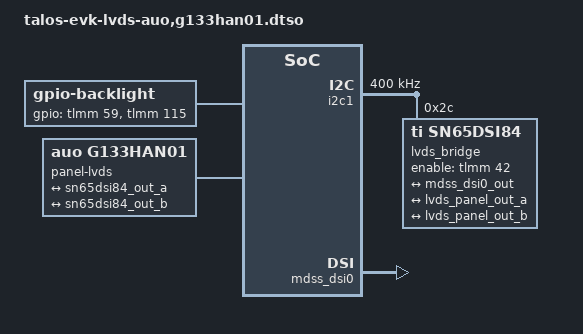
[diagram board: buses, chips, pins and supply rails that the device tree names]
// SPDX-License-Identifier: BSD-3-Clause
/*
 * Copyright (c) Qualcomm Technologies, Inc. and/or its subsidiaries.
 */
/dts-v1/;
/plugin/;

#include <dt-bindings/gpio/gpio.h>

&{/} {
	backlight: backlight {
		compatible = "gpio-backlight";
		gpios = <&tlmm 59 GPIO_ACTIVE_HIGH>,
			<&tlmm 115 GPIO_ACTIVE_HIGH>;
		default-on;
	};

	hdmi_connector: hdmi-out {
		status = "disabled";
	};

	panel-lvds {
		compatible = "auo,g133han01";

		ports {
			#address-cells = <1>;
			#size-cells = <0>;

			/* LVDS A (Odd pixels) */
			port@0 {
				reg = <0>;
				dual-lvds-odd-pixels;

				lvds_panel_out_a: endpoint {
					remote-endpoint = <&sn65dsi84_out_a>;
				};
			};

			/* LVDS B (Even pixels) */
			port@1 {
				reg = <1>;
				dual-lvds-even-pixels;

				lvds_panel_out_b: endpoint {
					remote-endpoint = <&sn65dsi84_out_b>;
				};
			};
		};
	};
};

&i2c1 {
	clock-frequency = <400000>;

	status = "okay";

	hdmi_bridge: bridge@3d {
		status = "disabled";
	};

	lvds_bridge: bridge@2c {
		compatible = "ti,sn65dsi84";
		reg = <0x2c>;
		enable-gpios = <&tlmm 42 GPIO_ACTIVE_HIGH>;
		ti,dsi-lanes = <4>;
		ti,lvds-format = "jeida-24";
		ti,lvds-bpp = <24>;

		ports {
			#address-cells = <1>;
			#size-cells = <0>;

			port@0 {
				reg = <0>;

				sn65dsi84_in: endpoint {
					data-lanes = <0 1 2 3>;
					remote-endpoint = <&mdss_dsi0_out>;
				};
			};

			port@2 {
				reg = <2>;

				sn65dsi84_out_a: endpoint {
					data-lanes = <0 1 2 3>;
					remote-endpoint = <&lvds_panel_out_a>;
				};
			};

			port@3 {
				reg = <3>;

				sn65dsi84_out_b: endpoint {
					data-lanes = <0 1 2 3>;
					remote-endpoint = <&lvds_panel_out_b>;
				};
			};
		};
	};
};

&mdss_dsi0 {
	vdda-supply = <&vreg_l11a>;

	status = "okay";
};

&mdss_dsi0_out {
	remote-endpoint = <&sn65dsi84_in>;
	data-lanes = <0 1 2 3>;
};

&tlmm {
	lcd_bklt_en: lcd-bklt-en-state {
		pins = "gpio115";
		function = "gpio";
		bias-disable;
	};

	lcd_bklt_pwm: lcd-bklt-pwm-state {
		pins = "gpio59";
		function = "gpio";
		bias-disable;
	};
};
